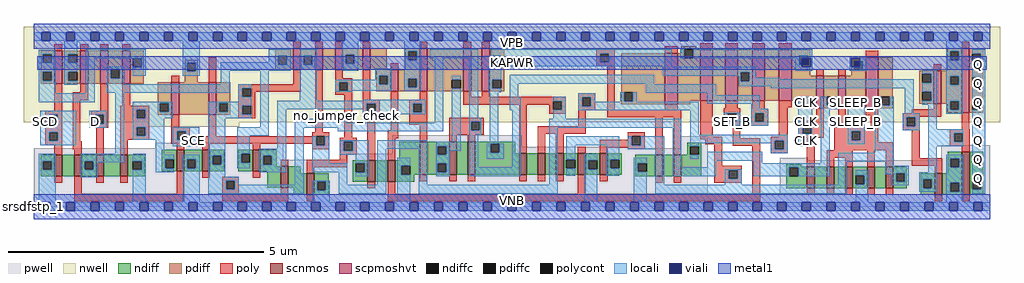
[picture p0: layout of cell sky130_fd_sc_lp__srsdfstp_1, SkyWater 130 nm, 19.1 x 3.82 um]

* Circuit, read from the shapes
.subckt sky130_fd_sc_lp__srsdfstp_1 CLK D SCD SCE SET_B SLEEP_B KAPWR VGND VNB VPB VPWR Q
XM1 n1 SCD VGND VNB sky130_fd_pr__nfet_01v8 w=0.42 l=0.15
XM2 n2 SCE n1 VNB sky130_fd_pr__nfet_01v8 w=0.42 l=0.15
XM3 n3 D n2 VNB sky130_fd_pr__nfet_01v8 w=0.42 l=0.15
XM4 VGND n4 n3 VNB sky130_fd_pr__nfet_01v8 w=0.42 l=0.15
XM5 VGND SCE n4 VNB sky130_fd_pr__nfet_01v8 w=0.42 l=0.15
XM6 n5 n6 VGND VNB sky130_fd_pr__nfet_01v8 w=0.42 l=0.15
XM7 n7 n6 n2 VNB sky130_fd_pr__nfet_01v8 w=0.42 l=0.15
XM8 n8 n5 n7 VNB sky130_fd_pr__nfet_01v8 w=0.42 l=0.15
XM9 VGND n9 n8 VNB sky130_fd_pr__nfet_01v8 w=0.42 l=0.15
XM10 n10 n7 n9 VNB sky130_fd_pr__nfet_01v8 w=0.42 l=0.15
XM11 VGND SET_B n10 VNB sky130_fd_pr__nfet_01v8 w=0.42 l=0.15
XM12 n11 n7 VGND VNB sky130_fd_pr__nfet_01v8 w=0.64 l=0.15
XM13 n12 n5 n11 VNB sky130_fd_pr__nfet_01v8 w=0.64 l=0.15
XM14 n13 n5 n12 VNB sky130_fd_pr__nfet_01v8 w=0.64 l=0.15
XM15 n14 n6 n13 VNB sky130_fd_pr__nfet_01v8 w=0.42 l=0.15
XM16 n15 n16 n14 VNB sky130_fd_pr__nfet_01v8 w=0.42 l=0.15
XM17 n17 n16 n15 VNB sky130_fd_pr__nfet_01v8 w=0.42 l=0.15
XM18 VGND SET_B n17 VNB sky130_fd_pr__nfet_01v8 w=0.42 l=0.15
XM19 n17 n18 VGND VNB sky130_fd_pr__nfet_01v8 w=0.42 l=0.15
XM20 n19 n13 VGND VNB sky130_fd_pr__nfet_01v8 w=0.42 l=0.15
XM21 n16 n13 n19 VNB sky130_fd_pr__nfet_01v8 w=0.42 l=0.15
XM22 n20 CLK n6 VNB sky130_fd_pr__nfet_01v8 w=0.42 l=0.15
XM23 n21 SLEEP_B n20 VNB sky130_fd_pr__nfet_01v8 w=0.42 l=0.15
XM24 VGND SLEEP_B n21 VNB sky130_fd_pr__nfet_01v8 w=0.42 l=0.15
XM25 n22 SLEEP_B VGND VNB sky130_fd_pr__nfet_01v8 w=0.42 l=0.15
XM26 n18 SLEEP_B n22 VNB sky130_fd_pr__nfet_01v8 w=0.42 l=0.15
XM27 VGND n13 n23 VNB sky130_fd_pr__nfet_01v8 w=0.42 l=0.15
XM28 Q n23 VGND VNB sky130_fd_pr__nfet_01v8 w=0.84 l=0.15
XM29 VPWR SCD n24 VPB sky130_fd_pr__pfet_01v8_hvt w=0.64 l=0.15
XM30 n25 SCE VPWR VPB sky130_fd_pr__pfet_01v8_hvt w=0.64 l=0.15
XM31 n2 D n25 VPB sky130_fd_pr__pfet_01v8_hvt w=0.64 l=0.15
XM32 n24 n4 n2 VPB sky130_fd_pr__pfet_01v8_hvt w=0.64 l=0.15
XM33 VPWR SCE n4 VPB sky130_fd_pr__pfet_01v8_hvt w=0.64 l=0.15
XM34 n5 n6 VPWR VPB sky130_fd_pr__pfet_01v8_hvt w=0.64 l=0.15
XM35 n7 n5 n2 VPB sky130_fd_pr__pfet_01v8_hvt w=0.42 l=0.15
XM36 n26 n6 n7 VPB sky130_fd_pr__pfet_01v8_hvt w=0.42 l=0.15
XM37 VPWR n9 n26 VPB sky130_fd_pr__pfet_01v8_hvt w=0.42 l=0.15
XM38 n9 n7 VPWR VPB sky130_fd_pr__pfet_01v8_hvt w=0.42 l=0.15
XM39 VPWR SET_B n9 VPB sky130_fd_pr__pfet_01v8_hvt w=0.42 l=0.15
XM40 n11 n7 VPWR VPB sky130_fd_pr__pfet_01v8_hvt w=0.84 l=0.15
XM41 n27 n6 n11 VPB sky130_fd_pr__pfet_01v8_hvt w=0.84 l=0.15
XM42 n13 n6 n27 VPB sky130_fd_pr__pfet_01v8_hvt w=0.84 l=0.15
XM43 KAPWR n13 n16 VPB sky130_fd_pr__pfet_01v8_hvt w=1 l=0.25
XM44 n28 n18 KAPWR VPB sky130_fd_pr__pfet_01v8_hvt w=1 l=0.25
XM45 n13 SET_B n28 VPB sky130_fd_pr__pfet_01v8_hvt w=1 l=0.25
XM46 n29 n5 n13 VPB sky130_fd_pr__pfet_01v8_hvt w=1 l=0.25
XM47 KAPWR n16 n29 VPB sky130_fd_pr__pfet_01v8_hvt w=1 l=0.25
XM48 n6 CLK KAPWR VPB sky130_fd_pr__pfet_01v8_hvt w=0.64 l=0.15
XM49 KAPWR SLEEP_B n6 VPB sky130_fd_pr__pfet_01v8_hvt w=0.64 l=0.15
XM50 n18 SLEEP_B KAPWR VPB sky130_fd_pr__pfet_01v8_hvt w=1 l=0.25
XM51 VPWR n13 n23 VPB sky130_fd_pr__pfet_01v8_hvt w=0.64 l=0.15
XM52 Q n23 VPWR VPB sky130_fd_pr__pfet_01v8_hvt w=1.26 l=0.15
.ends

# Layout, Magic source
magic
tech sky130A
magscale 1 2
<< nwell >>
rect -38 331 3782 704
rect 449 313 805 331
<< pwell >>
rect 476 229 977 249
rect 1 183 977 229
rect 1404 235 1911 279
rect 1404 229 2327 235
rect 2531 229 2639 275
rect 1404 207 2639 229
rect 1223 183 2639 207
rect 1 49 2639 183
rect 2920 182 3030 191
rect 3552 182 3743 241
rect 2920 49 3743 182
rect 0 0 3744 49
<< scnmos >>
rect 81 119 111 203
rect 159 119 189 203
rect 245 119 275 203
rect 339 119 369 203
rect 559 139 589 223
rect 659 139 689 223
rect 857 139 887 223
rect 966 73 996 157
rect 1068 47 1098 131
rect 1306 97 1336 181
rect 1385 97 1415 181
rect 1511 125 1541 253
rect 1626 125 1656 253
rect 1698 125 1728 253
rect 1900 125 1930 209
rect 1972 125 2002 209
rect 2044 125 2074 209
rect 2130 125 2160 209
rect 2216 125 2246 209
rect 2433 119 2463 203
rect 2505 119 2535 203
rect 3026 72 3056 156
rect 3104 72 3134 156
rect 3176 72 3206 156
rect 3262 72 3292 156
rect 3334 72 3364 156
rect 3526 47 3556 131
rect 3633 47 3663 215
<< scpmoshvt >>
rect 81 481 111 609
rect 183 481 213 609
rect 261 481 291 609
rect 347 481 377 609
rect 1016 535 1046 619
rect 1102 535 1132 619
rect 1180 535 1210 619
rect 1288 535 1318 619
rect 539 359 569 487
rect 685 359 715 487
rect 1397 451 1427 535
rect 1511 451 1541 619
rect 1682 451 1712 619
rect 1754 451 1784 619
rect 2470 401 2520 601
rect 2608 414 2658 614
rect 2706 414 2756 614
rect 2812 414 2862 614
rect 2916 414 2966 614
rect 3062 384 3092 512
rect 3148 384 3178 512
rect 3256 384 3306 584
rect 3523 403 3553 531
rect 3632 367 3662 619
<< ndiff >>
rect 27 178 81 203
rect 27 144 36 178
rect 70 144 81 178
rect 27 119 81 144
rect 111 119 159 203
rect 189 178 245 203
rect 189 144 200 178
rect 234 144 245 178
rect 189 119 245 144
rect 275 119 339 203
rect 369 178 434 203
rect 369 144 388 178
rect 422 144 434 178
rect 369 119 434 144
rect 502 185 559 223
rect 502 151 514 185
rect 548 151 559 185
rect 502 139 559 151
rect 589 185 659 223
rect 589 151 600 185
rect 634 151 659 185
rect 589 139 659 151
rect 689 198 746 223
rect 689 164 700 198
rect 734 164 746 198
rect 689 139 746 164
rect 800 206 857 223
rect 800 172 812 206
rect 846 172 857 206
rect 800 139 857 172
rect 887 198 951 223
rect 887 164 898 198
rect 932 164 951 198
rect 887 157 951 164
rect 887 139 966 157
rect 914 73 966 139
rect 996 131 1046 157
rect 1430 181 1511 253
rect 1249 169 1306 181
rect 1249 135 1261 169
rect 1295 135 1306 169
rect 996 73 1068 131
rect 1018 47 1068 73
rect 1098 97 1155 131
rect 1249 97 1306 135
rect 1336 97 1385 181
rect 1415 159 1511 181
rect 1415 125 1439 159
rect 1473 125 1511 159
rect 1541 237 1626 253
rect 1541 203 1581 237
rect 1615 203 1626 237
rect 1541 169 1626 203
rect 1541 135 1581 169
rect 1615 135 1626 169
rect 1541 125 1626 135
rect 1656 125 1698 253
rect 1728 245 1885 253
rect 1728 211 1789 245
rect 1823 211 1885 245
rect 1728 209 1885 211
rect 1728 125 1900 209
rect 1930 125 1972 209
rect 2002 125 2044 209
rect 2074 184 2130 209
rect 2074 150 2085 184
rect 2119 150 2130 184
rect 2074 125 2130 150
rect 2160 181 2216 209
rect 2160 147 2171 181
rect 2205 147 2216 181
rect 2160 125 2216 147
rect 2246 184 2301 209
rect 2557 237 2613 249
rect 2557 203 2569 237
rect 2603 203 2613 237
rect 2246 150 2257 184
rect 2291 150 2301 184
rect 2246 125 2301 150
rect 2355 170 2433 203
rect 2355 136 2365 170
rect 2399 136 2433 170
rect 1415 97 1489 125
rect 1098 63 1109 97
rect 1143 63 1155 97
rect 1098 47 1155 63
rect 2355 119 2433 136
rect 2463 119 2505 203
rect 2535 119 2613 203
rect 2946 156 3004 165
rect 2946 153 3026 156
rect 2946 119 2958 153
rect 2992 119 3026 153
rect 2946 72 3026 119
rect 3056 72 3104 156
rect 3134 72 3176 156
rect 3206 122 3262 156
rect 3206 88 3217 122
rect 3251 88 3262 122
rect 3206 72 3262 88
rect 3292 72 3334 156
rect 3364 131 3418 156
rect 3578 187 3633 215
rect 3578 153 3588 187
rect 3622 153 3633 187
rect 3578 131 3633 153
rect 3364 97 3375 131
rect 3409 97 3418 131
rect 3364 72 3418 97
rect 3472 106 3526 131
rect 3472 72 3481 106
rect 3515 72 3526 106
rect 3472 47 3526 72
rect 3556 93 3633 131
rect 3556 59 3588 93
rect 3622 59 3633 93
rect 3556 47 3633 59
rect 3663 203 3717 215
rect 3663 169 3674 203
rect 3708 169 3717 203
rect 3663 101 3717 169
rect 3663 67 3674 101
rect 3708 67 3717 101
rect 3663 47 3717 67
<< pdiff >>
rect 27 597 81 609
rect 27 563 36 597
rect 70 563 81 597
rect 27 527 81 563
rect 27 493 36 527
rect 70 493 81 527
rect 27 481 81 493
rect 111 597 183 609
rect 111 563 136 597
rect 170 563 183 597
rect 111 527 183 563
rect 111 493 136 527
rect 170 493 183 527
rect 111 481 183 493
rect 213 481 261 609
rect 291 537 347 609
rect 291 503 302 537
rect 336 503 347 537
rect 291 481 347 503
rect 377 580 431 609
rect 945 590 1016 619
rect 377 546 388 580
rect 422 546 431 580
rect 377 481 431 546
rect 591 563 643 575
rect 591 529 600 563
rect 634 529 643 563
rect 591 487 643 529
rect 945 556 957 590
rect 991 556 1016 590
rect 945 535 1016 556
rect 1046 590 1102 619
rect 1046 556 1057 590
rect 1091 556 1102 590
rect 1046 535 1102 556
rect 1132 535 1180 619
rect 1210 594 1288 619
rect 1210 560 1221 594
rect 1255 560 1288 594
rect 1210 535 1288 560
rect 1318 535 1382 619
rect 1454 607 1511 619
rect 1454 573 1466 607
rect 1500 573 1511 607
rect 1454 535 1511 573
rect 485 405 539 487
rect 485 371 494 405
rect 528 371 539 405
rect 485 359 539 371
rect 569 359 685 487
rect 715 405 769 487
rect 715 371 726 405
rect 760 371 769 405
rect 715 359 769 371
rect 1340 513 1397 535
rect 1340 479 1352 513
rect 1386 479 1397 513
rect 1340 451 1397 479
rect 1427 501 1511 535
rect 1427 467 1466 501
rect 1500 467 1511 501
rect 1427 451 1511 467
rect 1541 497 1682 619
rect 1541 463 1637 497
rect 1671 463 1682 497
rect 1541 451 1682 463
rect 1712 451 1754 619
rect 1784 590 1841 619
rect 1784 556 1795 590
rect 1829 556 1841 590
rect 1784 497 1841 556
rect 2535 615 2593 627
rect 2535 601 2547 615
rect 1784 463 1795 497
rect 1829 463 1841 497
rect 1784 451 1841 463
rect 2299 447 2470 601
rect 2299 413 2311 447
rect 2345 413 2470 447
rect 2299 401 2470 413
rect 2520 581 2547 601
rect 2581 614 2593 615
rect 2581 581 2608 614
rect 2520 414 2608 581
rect 2658 414 2706 614
rect 2756 525 2812 614
rect 2756 491 2767 525
rect 2801 491 2812 525
rect 2756 414 2812 491
rect 2862 414 2916 614
rect 2966 590 3040 614
rect 2966 556 2997 590
rect 3031 556 3040 590
rect 3575 607 3632 619
rect 2966 512 3040 556
rect 3200 569 3256 584
rect 3200 535 3211 569
rect 3245 535 3256 569
rect 3200 512 3256 535
rect 2966 414 3062 512
rect 2520 401 2570 414
rect 2988 384 3062 414
rect 3092 430 3148 512
rect 3092 396 3103 430
rect 3137 396 3148 430
rect 3092 384 3148 396
rect 3178 384 3256 512
rect 3306 430 3363 584
rect 3575 573 3587 607
rect 3621 573 3632 607
rect 3575 531 3632 573
rect 3306 396 3317 430
rect 3351 396 3363 430
rect 3466 519 3523 531
rect 3466 485 3478 519
rect 3512 485 3523 519
rect 3466 449 3523 485
rect 3466 415 3478 449
rect 3512 415 3523 449
rect 3466 403 3523 415
rect 3553 510 3632 531
rect 3553 476 3587 510
rect 3621 476 3632 510
rect 3553 413 3632 476
rect 3553 403 3587 413
rect 3306 384 3363 396
rect 3575 379 3587 403
rect 3621 379 3632 413
rect 3575 367 3632 379
rect 3662 599 3717 619
rect 3662 565 3673 599
rect 3707 565 3717 599
rect 3662 506 3717 565
rect 3662 472 3673 506
rect 3707 472 3717 506
rect 3662 413 3717 472
rect 3662 379 3673 413
rect 3707 379 3717 413
rect 3662 367 3717 379
<< ndiffc >>
rect 36 144 70 178
rect 200 144 234 178
rect 388 144 422 178
rect 514 151 548 185
rect 600 151 634 185
rect 700 164 734 198
rect 812 172 846 206
rect 898 164 932 198
rect 1261 135 1295 169
rect 1439 125 1473 159
rect 1581 203 1615 237
rect 1581 135 1615 169
rect 1789 211 1823 245
rect 2085 150 2119 184
rect 2171 147 2205 181
rect 2569 203 2603 237
rect 2257 150 2291 184
rect 2365 136 2399 170
rect 1109 63 1143 97
rect 2958 119 2992 153
rect 3217 88 3251 122
rect 3588 153 3622 187
rect 3375 97 3409 131
rect 3481 72 3515 106
rect 3588 59 3622 93
rect 3674 169 3708 203
rect 3674 67 3708 101
<< pdiffc >>
rect 36 563 70 597
rect 36 493 70 527
rect 136 563 170 597
rect 136 493 170 527
rect 302 503 336 537
rect 388 546 422 580
rect 600 529 634 563
rect 957 556 991 590
rect 1057 556 1091 590
rect 1221 560 1255 594
rect 1466 573 1500 607
rect 494 371 528 405
rect 726 371 760 405
rect 1352 479 1386 513
rect 1466 467 1500 501
rect 1637 463 1671 497
rect 1795 556 1829 590
rect 1795 463 1829 497
rect 2311 413 2345 447
rect 2547 581 2581 615
rect 2767 491 2801 525
rect 2997 556 3031 590
rect 3211 535 3245 569
rect 3103 396 3137 430
rect 3587 573 3621 607
rect 3317 396 3351 430
rect 3478 485 3512 519
rect 3478 415 3512 449
rect 3587 476 3621 510
rect 3587 379 3621 413
rect 3673 565 3707 599
rect 3673 472 3707 506
rect 3673 379 3707 413
<< poly >>
rect 81 609 111 635
rect 183 609 213 635
rect 261 609 291 635
rect 347 609 377 635
rect 1016 619 1046 645
rect 1102 619 1132 645
rect 1180 619 1210 645
rect 1288 619 1318 645
rect 1511 619 1541 645
rect 1682 619 1712 645
rect 1754 619 1784 645
rect 539 487 569 513
rect 685 487 715 585
rect 1397 535 1427 561
rect 81 375 111 481
rect 183 447 213 481
rect 45 359 111 375
rect 45 325 61 359
rect 95 325 111 359
rect 45 291 111 325
rect 45 257 61 291
rect 95 257 111 291
rect 45 241 111 257
rect 81 203 111 241
rect 153 417 213 447
rect 153 255 183 417
rect 261 375 291 481
rect 347 395 377 481
rect 225 359 291 375
rect 225 325 241 359
rect 275 325 291 359
rect 225 309 291 325
rect 339 379 453 395
rect 339 345 403 379
rect 437 345 453 379
rect 1016 479 1046 535
rect 801 463 1046 479
rect 801 429 817 463
rect 851 449 1046 463
rect 851 429 867 449
rect 801 395 867 429
rect 801 361 817 395
rect 851 361 867 395
rect 339 311 453 345
rect 153 225 189 255
rect 159 203 189 225
rect 245 203 275 309
rect 339 277 403 311
rect 437 277 453 311
rect 339 261 453 277
rect 539 311 569 359
rect 539 295 611 311
rect 539 261 561 295
rect 595 261 611 295
rect 685 275 715 359
rect 801 345 867 361
rect 1102 291 1132 535
rect 1180 503 1210 535
rect 1180 487 1246 503
rect 1180 453 1196 487
rect 1230 453 1246 487
rect 1180 437 1246 453
rect 1090 275 1156 291
rect 339 203 369 261
rect 539 245 611 261
rect 659 245 1106 275
rect 559 223 589 245
rect 659 223 689 245
rect 857 223 887 245
rect 1090 241 1106 245
rect 1140 241 1156 275
rect 1216 269 1246 437
rect 1288 419 1318 535
rect 2201 599 2275 615
rect 2470 601 2520 627
rect 2201 565 2217 599
rect 2251 565 2275 599
rect 2201 549 2275 565
rect 1288 403 1354 419
rect 1288 369 1304 403
rect 1338 369 1354 403
rect 1288 353 1354 369
rect 1090 225 1156 241
rect 1198 253 1264 269
rect 1198 219 1214 253
rect 1248 219 1264 253
rect 1198 203 1264 219
rect 1198 183 1228 203
rect 966 157 996 183
rect 81 93 111 119
rect 159 51 189 119
rect 245 93 275 119
rect 339 93 369 119
rect 559 51 589 139
rect 659 113 689 139
rect 159 21 589 51
rect 737 101 803 117
rect 857 113 887 139
rect 737 67 753 101
rect 787 67 803 101
rect 1068 153 1228 183
rect 1306 181 1336 353
rect 1397 298 1427 451
rect 1511 419 1541 451
rect 1469 403 1541 419
rect 1469 369 1485 403
rect 1519 369 1541 403
rect 1682 429 1712 451
rect 1754 429 1784 451
rect 1682 413 2083 429
rect 1682 399 2033 413
rect 1469 321 1541 369
rect 1385 268 1427 298
rect 1385 181 1415 268
rect 1511 253 1541 321
rect 1626 332 1762 348
rect 1626 298 1712 332
rect 1746 298 1762 332
rect 1626 282 1762 298
rect 1626 253 1656 282
rect 1698 253 1728 282
rect 1068 131 1098 153
rect 737 51 803 67
rect 966 51 996 73
rect 737 21 996 51
rect 1900 209 1930 399
rect 2017 379 2033 399
rect 2067 379 2083 413
rect 2017 363 2083 379
rect 2131 427 2197 443
rect 2131 393 2147 427
rect 2181 393 2197 427
rect 2131 377 2197 393
rect 2245 379 2275 549
rect 2608 614 2658 640
rect 2706 614 2756 640
rect 2812 614 2862 640
rect 2916 614 2966 640
rect 3632 619 3662 645
rect 3256 584 3306 610
rect 3062 512 3092 538
rect 3148 512 3178 538
rect 2470 379 2520 401
rect 2131 315 2161 377
rect 2245 349 2535 379
rect 1972 285 2161 315
rect 1972 209 2002 285
rect 2044 209 2074 285
rect 2325 275 2391 291
rect 2325 261 2341 275
rect 2216 241 2341 261
rect 2375 241 2391 275
rect 2130 209 2160 235
rect 2216 231 2391 241
rect 2216 209 2246 231
rect 2325 225 2391 231
rect 2433 203 2463 349
rect 2505 203 2535 349
rect 2608 274 2658 414
rect 2706 384 2756 414
rect 2700 366 2766 384
rect 2812 382 2862 414
rect 2916 388 2966 414
rect 2700 332 2716 366
rect 2750 332 2766 366
rect 2700 316 2766 332
rect 2808 366 2874 382
rect 2808 332 2824 366
rect 2858 332 2874 366
rect 2808 316 2874 332
rect 2608 264 2694 274
rect 2628 244 2694 264
rect 1511 99 1541 125
rect 1626 99 1656 125
rect 1698 99 1728 125
rect 1900 99 1930 125
rect 1972 99 2002 125
rect 2044 99 2074 125
rect 1306 71 1336 97
rect 1385 51 1415 97
rect 2130 51 2160 125
rect 2216 99 2246 125
rect 2664 159 2694 244
rect 2736 268 2766 316
rect 2916 274 2951 388
rect 3523 531 3553 557
rect 3062 335 3092 384
rect 2736 238 2843 268
rect 2664 143 2771 159
rect 2433 93 2463 119
rect 2505 93 2535 119
rect 2664 109 2721 143
rect 2755 109 2771 143
rect 2664 93 2771 109
rect 2813 51 2843 238
rect 2885 258 2951 274
rect 2993 319 3092 335
rect 2993 285 3009 319
rect 3043 285 3092 319
rect 3148 310 3178 384
rect 3256 358 3306 384
rect 3523 381 3553 403
rect 3437 365 3553 381
rect 3276 310 3306 358
rect 2993 269 3092 285
rect 3134 294 3306 310
rect 3401 351 3553 365
rect 3401 349 3467 351
rect 3401 315 3417 349
rect 3451 315 3467 349
rect 3401 299 3467 315
rect 3632 303 3662 367
rect 2885 224 2901 258
rect 2935 224 2951 258
rect 2885 208 2951 224
rect 3026 156 3056 269
rect 3134 260 3202 294
rect 3236 260 3306 294
rect 3134 251 3306 260
rect 3134 221 3364 251
rect 3104 191 3206 221
rect 3104 156 3134 191
rect 3176 156 3206 191
rect 3262 156 3292 221
rect 3334 156 3364 221
rect 3437 189 3467 299
rect 3586 287 3663 303
rect 3586 253 3602 287
rect 3636 253 3663 287
rect 3586 237 3663 253
rect 3633 215 3663 237
rect 3437 159 3556 189
rect 3526 131 3556 159
rect 1068 21 1098 47
rect 1385 21 2843 51
rect 3026 46 3056 72
rect 3104 46 3134 72
rect 3176 46 3206 72
rect 3262 46 3292 72
rect 3334 46 3364 72
rect 3526 21 3556 47
rect 3633 21 3663 47
<< polycont >>
rect 61 325 95 359
rect 61 257 95 291
rect 241 325 275 359
rect 403 345 437 379
rect 817 429 851 463
rect 817 361 851 395
rect 403 277 437 311
rect 561 261 595 295
rect 1196 453 1230 487
rect 1106 241 1140 275
rect 2217 565 2251 599
rect 1304 369 1338 403
rect 1214 219 1248 253
rect 753 67 787 101
rect 1485 369 1519 403
rect 1712 298 1746 332
rect 2033 379 2067 413
rect 2147 393 2181 427
rect 2341 241 2375 275
rect 2716 332 2750 366
rect 2824 332 2858 366
rect 2721 109 2755 143
rect 3009 285 3043 319
rect 3417 315 3451 349
rect 2901 224 2935 258
rect 3202 260 3236 294
rect 3602 253 3636 287
<< locali >>
rect 0 649 31 683
rect 65 649 127 683
rect 161 649 223 683
rect 257 649 319 683
rect 353 649 415 683
rect 449 649 511 683
rect 545 649 607 683
rect 641 649 703 683
rect 737 649 799 683
rect 833 649 895 683
rect 929 649 991 683
rect 1025 649 1087 683
rect 1121 649 1183 683
rect 1217 649 1279 683
rect 1313 649 1375 683
rect 1409 649 1471 683
rect 1505 649 1567 683
rect 1601 649 1663 683
rect 1697 649 1759 683
rect 1793 649 1855 683
rect 1889 649 1951 683
rect 1985 649 2047 683
rect 2081 649 2143 683
rect 2177 649 2239 683
rect 2273 649 2335 683
rect 2369 649 2431 683
rect 2465 649 2527 683
rect 2561 649 2623 683
rect 2657 649 2719 683
rect 2753 649 2815 683
rect 2849 649 2911 683
rect 2945 649 3007 683
rect 3041 649 3103 683
rect 3137 649 3199 683
rect 3233 649 3295 683
rect 3329 649 3391 683
rect 3425 649 3487 683
rect 3521 649 3583 683
rect 3617 649 3679 683
rect 3713 649 3744 683
rect 20 597 86 613
rect 20 563 36 597
rect 70 563 86 597
rect 20 527 86 563
rect 20 493 36 527
rect 70 493 86 527
rect 20 443 86 493
rect 120 597 170 649
rect 120 563 136 597
rect 120 527 170 563
rect 120 493 136 527
rect 120 477 170 493
rect 204 581 438 615
rect 204 443 238 581
rect 388 580 438 581
rect 286 537 354 547
rect 286 503 302 537
rect 336 503 354 537
rect 422 546 438 580
rect 388 513 438 546
rect 584 563 650 649
rect 920 590 1007 615
rect 920 565 957 590
rect 584 529 600 563
rect 634 529 650 563
rect 584 513 650 529
rect 733 556 957 565
rect 991 556 1007 590
rect 733 531 1007 556
rect 1041 590 1107 615
rect 1041 556 1057 590
rect 1091 556 1107 590
rect 286 479 354 503
rect 733 479 767 531
rect 286 445 767 479
rect 801 463 852 479
rect 20 409 238 443
rect 25 359 167 375
rect 25 325 61 359
rect 95 325 167 359
rect 25 291 167 325
rect 217 359 286 375
rect 217 325 241 359
rect 275 325 286 359
rect 217 309 286 325
rect 25 257 61 291
rect 95 257 167 291
rect 25 241 167 257
rect 320 207 354 445
rect 801 429 817 463
rect 851 429 852 463
rect 801 411 852 429
rect 388 405 544 411
rect 388 379 494 405
rect 388 345 403 379
rect 437 371 494 379
rect 528 371 544 405
rect 437 345 544 371
rect 684 405 852 411
rect 684 371 726 405
rect 760 395 852 405
rect 760 371 817 395
rect 684 361 817 371
rect 851 361 852 395
rect 684 345 852 361
rect 388 311 511 345
rect 388 277 403 311
rect 437 277 511 311
rect 388 261 511 277
rect 20 178 86 207
rect 20 144 36 178
rect 70 144 86 178
rect 20 17 86 144
rect 184 178 354 207
rect 184 144 200 178
rect 234 173 354 178
rect 388 178 438 207
rect 234 144 250 173
rect 184 115 250 144
rect 422 144 438 178
rect 388 17 438 144
rect 477 202 511 261
rect 545 295 647 311
rect 545 261 561 295
rect 595 261 647 295
rect 545 236 647 261
rect 477 185 548 202
rect 477 151 514 185
rect 477 135 548 151
rect 584 185 650 202
rect 584 151 600 185
rect 634 151 650 185
rect 584 17 650 151
rect 684 198 750 345
rect 886 311 920 531
rect 1041 415 1107 556
rect 1205 594 1271 649
rect 1205 560 1221 594
rect 1255 560 1271 594
rect 1205 531 1271 560
rect 1450 607 1516 649
rect 1450 573 1466 607
rect 1500 573 1516 607
rect 1551 581 1739 615
rect 1336 513 1402 539
rect 1336 497 1352 513
rect 1180 487 1352 497
rect 1180 453 1196 487
rect 1230 479 1352 487
rect 1386 479 1402 513
rect 1230 453 1402 479
rect 1450 501 1516 573
rect 1450 467 1466 501
rect 1500 467 1516 501
rect 1450 453 1516 467
rect 1180 449 1246 453
rect 1288 415 1535 419
rect 684 164 700 198
rect 734 164 750 198
rect 684 117 750 164
rect 796 277 920 311
rect 954 403 1535 415
rect 954 381 1304 403
rect 796 206 846 277
rect 954 227 988 381
rect 1288 369 1304 381
rect 1338 369 1485 403
rect 1519 369 1535 403
rect 1288 362 1535 369
rect 796 172 812 206
rect 796 151 846 172
rect 882 198 988 227
rect 882 164 898 198
rect 932 164 988 198
rect 882 135 988 164
rect 1022 328 1224 343
rect 1569 328 1603 581
rect 1022 309 1603 328
rect 684 101 803 117
rect 684 67 753 101
rect 787 85 803 101
rect 1022 85 1056 309
rect 1190 294 1603 309
rect 1637 497 1671 513
rect 1090 241 1106 275
rect 1140 241 1156 275
rect 1090 169 1156 241
rect 1198 253 1311 260
rect 1198 219 1214 253
rect 1248 219 1311 253
rect 1198 203 1311 219
rect 1261 169 1311 203
rect 1090 135 1227 169
rect 787 67 1056 85
rect 684 51 1056 67
rect 1093 97 1159 101
rect 1093 63 1109 97
rect 1143 63 1159 97
rect 1093 17 1159 63
rect 1193 85 1227 135
rect 1295 135 1311 169
rect 1261 119 1311 135
rect 1345 226 1541 260
rect 1637 253 1671 463
rect 1345 85 1379 226
rect 1193 51 1379 85
rect 1423 159 1473 192
rect 1423 125 1439 159
rect 1423 17 1473 125
rect 1507 85 1541 226
rect 1575 237 1671 253
rect 1575 203 1581 237
rect 1615 219 1671 237
rect 1705 348 1739 581
rect 1788 599 2497 615
rect 1788 590 2217 599
rect 1788 556 1795 590
rect 1829 565 2217 590
rect 2251 565 2497 599
rect 2531 581 2547 615
rect 2581 590 3047 615
rect 2581 581 2997 590
rect 3031 581 3047 590
rect 3571 607 3637 649
rect 1829 556 2497 565
rect 1788 549 2497 556
rect 1779 497 1829 549
rect 2463 547 2497 549
rect 2981 556 2997 581
rect 2981 547 3007 556
rect 3041 547 3047 581
rect 2463 525 2826 547
rect 2981 532 3047 547
rect 3193 581 3261 588
rect 3193 547 3199 581
rect 3233 569 3261 581
rect 3193 535 3211 547
rect 3245 535 3261 569
rect 3571 573 3587 607
rect 3621 573 3637 607
rect 3193 532 3261 535
rect 1779 463 1795 497
rect 1779 447 1829 463
rect 1863 481 2429 515
rect 2463 513 2767 525
rect 1705 332 1751 348
rect 1705 298 1712 332
rect 1746 298 1751 332
rect 1705 282 1751 298
rect 1615 203 1629 219
rect 1575 169 1629 203
rect 1575 135 1581 169
rect 1615 135 1629 169
rect 1575 119 1629 135
rect 1705 153 1739 282
rect 1785 245 1819 447
rect 1863 427 1897 481
rect 2395 479 2429 481
rect 2760 491 2767 513
rect 2801 504 2826 525
rect 3478 519 3535 535
rect 2801 498 2919 504
rect 2801 491 3444 498
rect 1863 377 1907 427
rect 1773 211 1789 245
rect 1823 211 1839 245
rect 1773 187 1839 211
rect 1873 153 1907 377
rect 2033 413 2083 429
rect 2067 379 2083 413
rect 2033 343 2083 379
rect 2131 427 2197 443
rect 2131 393 2147 427
rect 2181 411 2197 427
rect 2295 413 2311 447
rect 2345 413 2361 447
rect 2395 445 2671 479
rect 2760 470 3444 491
rect 2885 464 3444 470
rect 2295 411 2361 413
rect 2637 436 2671 445
rect 2181 393 2603 411
rect 2637 402 2842 436
rect 2131 377 2603 393
rect 1705 119 1907 153
rect 2017 309 2535 343
rect 2017 85 2051 309
rect 2085 241 2291 275
rect 2085 184 2119 241
rect 2085 121 2119 150
rect 2155 181 2205 207
rect 2155 147 2171 181
rect 1507 51 2051 85
rect 2155 17 2205 147
rect 2241 184 2291 241
rect 2325 241 2341 275
rect 2375 241 2467 275
rect 2325 225 2467 241
rect 2241 150 2257 184
rect 2241 121 2291 150
rect 2349 170 2399 191
rect 2349 136 2365 170
rect 2349 17 2399 136
rect 2433 85 2467 225
rect 2501 153 2535 309
rect 2569 282 2603 377
rect 2808 382 2842 402
rect 2700 366 2766 368
rect 2700 332 2716 366
rect 2750 332 2766 366
rect 2700 316 2766 332
rect 2808 366 2874 382
rect 2808 332 2824 366
rect 2858 332 2874 366
rect 2808 316 2874 332
rect 2993 319 3047 430
rect 2993 285 3009 319
rect 3043 285 3047 319
rect 2569 258 2951 282
rect 2569 248 2901 258
rect 2569 237 2603 248
rect 2885 224 2901 248
rect 2935 224 2951 258
rect 2993 236 3047 285
rect 3081 396 3103 430
rect 3137 396 3153 430
rect 3081 380 3153 396
rect 2569 187 2603 203
rect 2637 180 2851 214
rect 2885 208 2951 224
rect 2637 153 2671 180
rect 2501 119 2671 153
rect 2817 169 2851 180
rect 3081 169 3115 380
rect 3187 294 3252 430
rect 3187 260 3202 294
rect 3236 260 3252 294
rect 3187 244 3252 260
rect 3291 396 3317 430
rect 3351 396 3367 430
rect 3291 210 3367 396
rect 3410 365 3444 464
rect 3512 485 3535 519
rect 3478 449 3535 485
rect 3512 415 3535 449
rect 3478 399 3535 415
rect 3401 349 3467 365
rect 3401 315 3417 349
rect 3451 315 3467 349
rect 3401 299 3467 315
rect 3501 303 3535 399
rect 3571 510 3637 573
rect 3571 476 3587 510
rect 3621 476 3637 510
rect 3571 413 3637 476
rect 3571 379 3587 413
rect 3621 379 3637 413
rect 3571 363 3637 379
rect 3673 599 3724 615
rect 3707 565 3724 599
rect 3673 506 3724 565
rect 3707 472 3724 506
rect 3673 413 3724 472
rect 3707 379 3724 413
rect 2817 153 3115 169
rect 2705 143 2771 146
rect 2705 109 2721 143
rect 2755 109 2771 143
rect 2817 119 2958 153
rect 2992 119 3115 153
rect 3149 176 3367 210
rect 2705 85 2771 109
rect 3149 85 3183 176
rect 3333 160 3367 176
rect 3501 287 3639 303
rect 3501 253 3602 287
rect 3636 253 3639 287
rect 3501 237 3639 253
rect 2433 51 3183 85
rect 3217 122 3267 142
rect 3333 131 3425 160
rect 3501 135 3535 237
rect 3673 203 3724 379
rect 3333 126 3375 131
rect 3251 88 3267 122
rect 3217 17 3267 88
rect 3359 97 3375 126
rect 3409 97 3425 131
rect 3359 84 3425 97
rect 3465 106 3535 135
rect 3465 72 3481 106
rect 3515 72 3535 106
rect 3465 59 3535 72
rect 3572 187 3638 203
rect 3572 153 3588 187
rect 3622 153 3638 187
rect 3572 93 3638 153
rect 3572 59 3588 93
rect 3622 59 3638 93
rect 3572 17 3638 59
rect 3673 169 3674 203
rect 3708 169 3724 203
rect 3673 101 3724 169
rect 3673 67 3674 101
rect 3708 67 3724 101
rect 3673 51 3724 67
rect 0 -17 31 17
rect 65 -17 127 17
rect 161 -17 223 17
rect 257 -17 319 17
rect 353 -17 415 17
rect 449 -17 511 17
rect 545 -17 607 17
rect 641 -17 703 17
rect 737 -17 799 17
rect 833 -17 895 17
rect 929 -17 991 17
rect 1025 -17 1087 17
rect 1121 -17 1183 17
rect 1217 -17 1279 17
rect 1313 -17 1375 17
rect 1409 -17 1471 17
rect 1505 -17 1567 17
rect 1601 -17 1663 17
rect 1697 -17 1759 17
rect 1793 -17 1855 17
rect 1889 -17 1951 17
rect 1985 -17 2047 17
rect 2081 -17 2143 17
rect 2177 -17 2239 17
rect 2273 -17 2335 17
rect 2369 -17 2431 17
rect 2465 -17 2527 17
rect 2561 -17 2623 17
rect 2657 -17 2719 17
rect 2753 -17 2815 17
rect 2849 -17 2911 17
rect 2945 -17 3007 17
rect 3041 -17 3103 17
rect 3137 -17 3199 17
rect 3233 -17 3295 17
rect 3329 -17 3391 17
rect 3425 -17 3487 17
rect 3521 -17 3583 17
rect 3617 -17 3679 17
rect 3713 -17 3744 17
<< viali >>
rect 31 649 65 683
rect 127 649 161 683
rect 223 649 257 683
rect 319 649 353 683
rect 415 649 449 683
rect 511 649 545 683
rect 607 649 641 683
rect 703 649 737 683
rect 799 649 833 683
rect 895 649 929 683
rect 991 649 1025 683
rect 1087 649 1121 683
rect 1183 649 1217 683
rect 1279 649 1313 683
rect 1375 649 1409 683
rect 1471 649 1505 683
rect 1567 649 1601 683
rect 1663 649 1697 683
rect 1759 649 1793 683
rect 1855 649 1889 683
rect 1951 649 1985 683
rect 2047 649 2081 683
rect 2143 649 2177 683
rect 2239 649 2273 683
rect 2335 649 2369 683
rect 2431 649 2465 683
rect 2527 649 2561 683
rect 2623 649 2657 683
rect 2719 649 2753 683
rect 2815 649 2849 683
rect 2911 649 2945 683
rect 3007 649 3041 683
rect 3103 649 3137 683
rect 3199 649 3233 683
rect 3295 649 3329 683
rect 3391 649 3425 683
rect 3487 649 3521 683
rect 3583 649 3617 683
rect 3679 649 3713 683
rect 3007 556 3031 581
rect 3031 556 3041 581
rect 3007 547 3041 556
rect 3199 569 3233 581
rect 3199 547 3211 569
rect 3211 547 3233 569
rect 31 -17 65 17
rect 127 -17 161 17
rect 223 -17 257 17
rect 319 -17 353 17
rect 415 -17 449 17
rect 511 -17 545 17
rect 607 -17 641 17
rect 703 -17 737 17
rect 799 -17 833 17
rect 895 -17 929 17
rect 991 -17 1025 17
rect 1087 -17 1121 17
rect 1183 -17 1217 17
rect 1279 -17 1313 17
rect 1375 -17 1409 17
rect 1471 -17 1505 17
rect 1567 -17 1601 17
rect 1663 -17 1697 17
rect 1759 -17 1793 17
rect 1855 -17 1889 17
rect 1951 -17 1985 17
rect 2047 -17 2081 17
rect 2143 -17 2177 17
rect 2239 -17 2273 17
rect 2335 -17 2369 17
rect 2431 -17 2465 17
rect 2527 -17 2561 17
rect 2623 -17 2657 17
rect 2719 -17 2753 17
rect 2815 -17 2849 17
rect 2911 -17 2945 17
rect 3007 -17 3041 17
rect 3103 -17 3137 17
rect 3199 -17 3233 17
rect 3295 -17 3329 17
rect 3391 -17 3425 17
rect 3487 -17 3521 17
rect 3583 -17 3617 17
rect 3679 -17 3713 17
<< metal1 >>
rect 0 683 3744 715
rect 0 649 31 683
rect 65 649 127 683
rect 161 649 223 683
rect 257 649 319 683
rect 353 649 415 683
rect 449 649 511 683
rect 545 649 607 683
rect 641 649 703 683
rect 737 649 799 683
rect 833 649 895 683
rect 929 649 991 683
rect 1025 649 1087 683
rect 1121 649 1183 683
rect 1217 649 1279 683
rect 1313 649 1375 683
rect 1409 649 1471 683
rect 1505 649 1567 683
rect 1601 649 1663 683
rect 1697 649 1759 683
rect 1793 649 1855 683
rect 1889 649 1951 683
rect 1985 649 2047 683
rect 2081 649 2143 683
rect 2177 649 2239 683
rect 2273 649 2335 683
rect 2369 649 2431 683
rect 2465 649 2527 683
rect 2561 649 2623 683
rect 2657 649 2719 683
rect 2753 649 2815 683
rect 2849 649 2911 683
rect 2945 649 3007 683
rect 3041 649 3103 683
rect 3137 649 3199 683
rect 3233 649 3295 683
rect 3329 649 3391 683
rect 3425 649 3487 683
rect 3521 649 3583 683
rect 3617 649 3679 683
rect 3713 649 3744 683
rect 0 617 3744 649
rect 14 581 3730 589
rect 14 547 3007 581
rect 3041 547 3199 581
rect 3233 547 3730 581
rect 14 535 3730 547
rect 0 17 3744 49
rect 0 -17 31 17
rect 65 -17 127 17
rect 161 -17 223 17
rect 257 -17 319 17
rect 353 -17 415 17
rect 449 -17 511 17
rect 545 -17 607 17
rect 641 -17 703 17
rect 737 -17 799 17
rect 833 -17 895 17
rect 929 -17 991 17
rect 1025 -17 1087 17
rect 1121 -17 1183 17
rect 1217 -17 1279 17
rect 1313 -17 1375 17
rect 1409 -17 1471 17
rect 1505 -17 1567 17
rect 1601 -17 1663 17
rect 1697 -17 1759 17
rect 1793 -17 1855 17
rect 1889 -17 1951 17
rect 1985 -17 2047 17
rect 2081 -17 2143 17
rect 2177 -17 2239 17
rect 2273 -17 2335 17
rect 2369 -17 2431 17
rect 2465 -17 2527 17
rect 2561 -17 2623 17
rect 2657 -17 2719 17
rect 2753 -17 2815 17
rect 2849 -17 2911 17
rect 2945 -17 3007 17
rect 3041 -17 3103 17
rect 3137 -17 3199 17
rect 3233 -17 3295 17
rect 3329 -17 3391 17
rect 3425 -17 3487 17
rect 3521 -17 3583 17
rect 3617 -17 3679 17
rect 3713 -17 3744 17
rect 0 -49 3744 -17
<< labels >>
flabel pwell s 0 0 3744 49 0 FreeSans 200 0 0 0 VNB
port 9 nsew ground bidirectional
flabel nwell s 0 617 3744 666 0 FreeSans 200 0 0 0 VPB
port 10 nsew power bidirectional
rlabel comment s 0 0 0 0 4 srsdfstp_1
flabel comment s 1226 358 1226 358 0 FreeSans 200 90 0 0 no_jumper_check
flabel locali s 3679 242 3713 276 0 FreeSans 200 0 0 0 Q
port 12 nsew signal output
flabel locali s 3679 538 3713 572 0 FreeSans 200 0 0 0 Q
port 12 nsew signal output
flabel locali s 3679 464 3713 498 0 FreeSans 200 0 0 0 Q
port 12 nsew signal output
flabel locali s 3679 390 3713 424 0 FreeSans 200 0 0 0 Q
port 12 nsew signal output
flabel locali s 3679 316 3713 350 0 FreeSans 200 0 0 0 Q
port 12 nsew signal output
flabel locali s 3679 94 3713 128 0 FreeSans 200 0 0 0 Q
port 12 nsew signal output
flabel locali s 3679 168 3713 202 0 FreeSans 200 0 0 0 Q
port 12 nsew signal output
flabel locali s 2719 316 2753 350 0 FreeSans 340 0 0 0 SET_B
port 5 nsew signal input
flabel locali s 3007 242 3041 276 0 FreeSans 340 0 0 0 CLK
port 1 nsew clock input
flabel locali s 3007 316 3041 350 0 FreeSans 340 0 0 0 CLK
port 1 nsew clock input
flabel locali s 3007 390 3041 424 0 FreeSans 340 0 0 0 CLK
port 1 nsew clock input
flabel locali s 3199 316 3233 350 0 FreeSans 340 0 0 0 SLEEP_B
port 6 nsew signal input
flabel locali s 3199 390 3233 424 0 FreeSans 340 0 0 0 SLEEP_B
port 6 nsew signal input
flabel locali s 31 316 65 350 0 FreeSans 340 0 0 0 SCD
port 3 nsew signal input
flabel locali s 127 316 161 350 0 FreeSans 340 0 0 0 SCD
port 3 nsew signal input
flabel locali s 607 242 641 276 0 FreeSans 340 0 0 0 SCE
port 4 nsew signal input
flabel locali s 223 316 257 350 0 FreeSans 340 0 0 0 D
port 2 nsew signal input
flabel metal1 s 14 535 3730 589 0 FreeSans 340 0 0 0 KAPWR
port 7 nsew power bidirectional
flabel metal1 s 0 617 3744 666 0 FreeSans 200 0 0 0 VPWR
port 11 nsew power bidirectional
flabel metal1 s 0 0 3744 17 0 FreeSans 200 0 0 0 VGND
port 8 nsew ground bidirectional
<< properties >>
string LEFsite unit
string LEFclass CORE
string FIXED_BBOX 0 0 3744 666
string GDS_FILE $PDKPATH/libs.ref/sky130_fd_sc_lp/gds/sky130_fd_sc_lp.gds
string LEFsymmetry X Y R90
string GDS_END 2737552
string GDS_START 2712668
<< end >>
